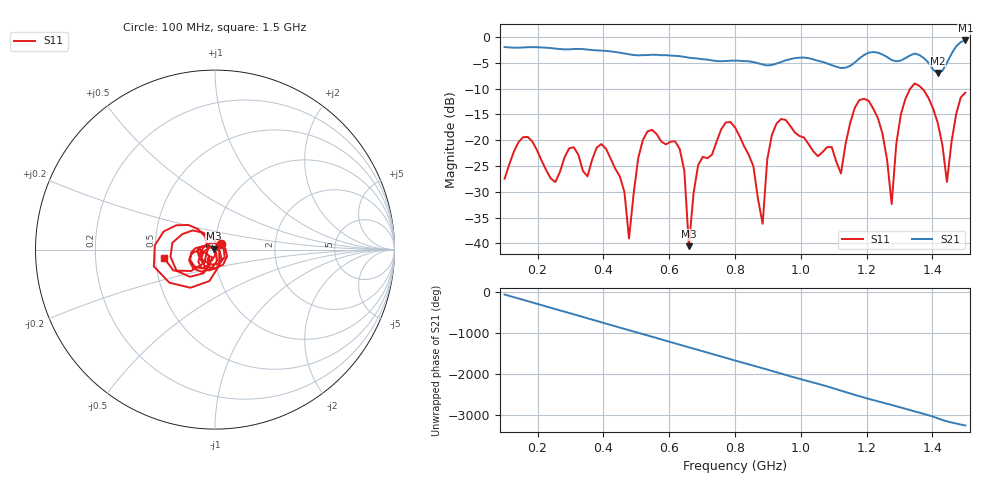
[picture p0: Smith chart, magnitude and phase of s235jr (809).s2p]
! NanoVNA-App
! Date: 2025-09-25 15:10:28
! Start: 100MHz Stop: 1,5GHz Points: 101
! S-Parameter data: F S11 S21 S12 S22
# Hz S RI R 50
!  Frequency  S11_Real  S11_Imag  S21_Real  S21_Imag  S12_Real  S12_Imag  S22_Real  S22_Imag
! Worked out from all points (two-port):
!   101 points, 100 MHz to 1.5 GHz, reference 50 ohm
!   highest |S21| = -0.69 dB at 1.5 GHz (marker M1); lowest = -7.0 dB at 1.416 GHz (marker M2)
!   |S21| within 3 dB of the highest: start of sweep to 621.8 MHz; 1.188 GHz to 1.256 GHz (67.86 MHz wide, 5.55 % of centre) (the widest 2 of 4)
!   lowest |S11| = -40.6 dB at 660 MHz (marker M3), VSWR 1.02, Z = 49.2 + j0.551 ohm
!   |S11| at or under -10 dB: start of sweep to 1.333 GHz; 1.368 GHz to end of sweep
!   S12 and S22 are empty: the file has one direction only
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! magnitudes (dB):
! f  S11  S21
! 100 MHz  -27.5  -2.0
! 156 MHz  -19.4  -2.1
! 338 MHz  -26.0  -2.4
! 408 MHz  -21.7  -2.7
! 478 MHz  -39.1  -3.4
! 520 MHz  -20.0  -3.5
! 576 MHz  -20.3  -3.5
! 632 MHz  -21.7  -3.7
! 660 MHz  -40.6  -4.0
! 688 MHz  -24.9  -4.2
! 800 MHz  -17.5  -4.6
! 884 MHz  -36.2  -5.4
! 926 MHz  -16.8  -5.2
! 1.038 GHz  -22.2  -4.4
! 1.122 GHz  -26.5  -6.0
! 1.206 GHz  -12.4  -3.1
! 1.276 GHz  -32.4  -4.5
! 1.304 GHz  -15.0  -4.6
! 1.332 GHz  -10.1  -3.6
! 1.416 GHz  -16.7  -7.0
! 1.444 GHz  -28.1  -5.0
! 1.5 GHz  -10.8  -0.7
